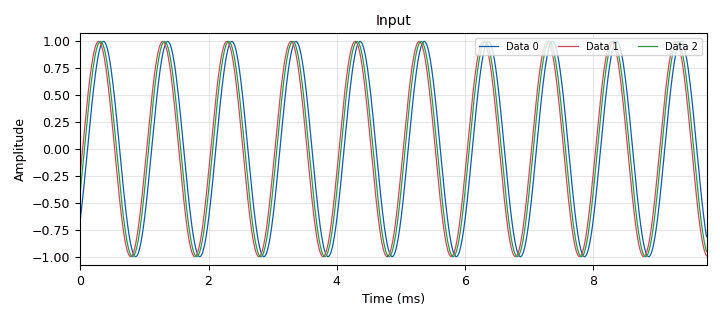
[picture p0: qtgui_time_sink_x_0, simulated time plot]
<?xml version='1.0' encoding='utf-8'?>
<?grc format='1' created='3.7.8'?>
<flow_graph>
<block>
<key>options</key>
<param><key>id</key><value>top_block</value></param>
<param><key>category</key><value>Custom</value></param>
<param><key>generate_options</key><value>qt_gui</value></param>
</block>
<block>
<key>variable</key>
<param><key>id</key><value>cal_freq</value></param>
<param><key>value</key><value>1000</value></param>
</block>
<block>
<key>variable</key>
<param><key>id</key><value>points</value></param>
<param><key>value</key><value>10000</value></param>
</block>
<block>
<key>variable</key>
<param><key>id</key><value>samp_rate</value></param>
<param><key>value</key><value>1024000</value></param>
</block>
<block>
<key>variable_qtgui_range</key>
<param><key>id</key><value>variable_qtgui_range_0</value></param>
<param><key>value</key><value>20</value></param>
<param><key>label</key><value>Input_Delay</value></param>
<param><key>orient</key><value>Qt.Horizontal</value></param>
<param><key>start</key><value>0</value></param>
<param><key>step</key><value>2</value></param>
<param><key>stop</key><value>180</value></param>
<param><key>rangeType</key><value>int</value></param>
</block>
<block>
<key>variable_qtgui_range</key>
<param><key>id</key><value>variable_qtgui_range_0_0</value></param>
<param><key>value</key><value>20</value></param>
<param><key>_enabled</key><value>0</value></param>
<param><key>orient</key><value>Qt.Horizontal</value></param>
<param><key>start</key><value>0</value></param>
<param><key>step</key><value>2</value></param>
<param><key>stop</key><value>180</value></param>
<param><key>rangeType</key><value>int</value></param>
</block>
<block>
<key>variable_qtgui_range</key>
<param><key>id</key><value>variable_qtgui_range_0_1</value></param>
<param><key>value</key><value>50</value></param>
<param><key>label</key><value>Input_Delay</value></param>
<param><key>orient</key><value>Qt.Horizontal</value></param>
<param><key>start</key><value>0</value></param>
<param><key>step</key><value>2</value></param>
<param><key>stop</key><value>180</value></param>
<param><key>rangeType</key><value>int</value></param>
</block>
<block>
<key>variable</key>
<param><key>id</key><value>vec_size</value></param>
<param><key>value</key><value>samp_rate/cal_freq*2</value></param>
</block>
<block>
<key>analog_sig_source_x</key>
<param><key>id</key><value>analog_sig_source_x_0</value></param>
<param><key>amp</key><value>1</value></param>
<param><key>freq</key><value>cal_freq</value></param>
<param><key>offset</key><value>0</value></param>
<param><key>type</key><value>complex</value></param>
<param><key>samp_rate</key><value>samp_rate</value></param>
<param><key>waveform</key><value>analog.GR_COS_WAVE</value></param>
</block>
<block>
<key>blocks_complex_to_real</key>
<param><key>id</key><value>blocks_complex_to_real_0</value></param>
</block>
<block>
<key>blocks_complex_to_real</key>
<param><key>id</key><value>blocks_complex_to_real_0_0</value></param>
</block>
<block>
<key>blocks_complex_to_real</key>
<param><key>id</key><value>blocks_complex_to_real_0_0_0</value></param>
</block>
<block>
<key>blocks_complex_to_real</key>
<param><key>id</key><value>blocks_complex_to_real_0_1</value></param>
<param><key>vlen</key><value>vec_size</value></param>
</block>
<block>
<key>blocks_complex_to_real</key>
<param><key>id</key><value>blocks_complex_to_real_0_2</value></param>
<param><key>vlen</key><value>vec_size</value></param>
</block>
<block>
<key>blocks_complex_to_real</key>
<param><key>id</key><value>blocks_complex_to_real_0_2_0</value></param>
<param><key>vlen</key><value>vec_size</value></param>
</block>
<block>
<key>blocks_complex_to_real</key>
<param><key>id</key><value>blocks_complex_to_real_1</value></param>
<param><key>_enabled</key><value>0</value></param>
</block>
<block>
<key>blocks_complex_to_real</key>
<param><key>id</key><value>blocks_complex_to_real_1_0</value></param>
<param><key>_enabled</key><value>0</value></param>
</block>
<block>
<key>blocks_complex_to_real</key>
<param><key>id</key><value>blocks_complex_to_real_1_0_0</value></param>
<param><key>_enabled</key><value>0</value></param>
</block>
<block>
<key>blocks_delay</key>
<param><key>id</key><value>blocks_delay_0</value></param>
<param><key>delay</key><value>variable_qtgui_range_0</value></param>
<param><key>type</key><value>complex</value></param>
</block>
<block>
<key>blocks_delay</key>
<param><key>id</key><value>blocks_delay_0_0</value></param>
<param><key>delay</key><value>variable_qtgui_range_0_1</value></param>
<param><key>type</key><value>complex</value></param>
</block>
<block>
<key>blocks_delay</key>
<param><key>id</key><value>blocks_delay_0_1</value></param>
<param><key>delay</key><value>100</value></param>
<param><key>type</key><value>complex</value></param>
</block>
<block>
<key>blocks_int_to_float</key>
<param><key>id</key><value>blocks_int_to_float_0</value></param>
<param><key>scale</key><value>1</value></param>
</block>
<block>
<key>blocks_int_to_float</key>
<param><key>id</key><value>blocks_int_to_float_0_0</value></param>
<param><key>scale</key><value>1</value></param>
</block>
<block>
<key>blocks_int_to_float</key>
<param><key>id</key><value>blocks_int_to_float_0_0_0</value></param>
<param><key>_enabled</key><value>0</value></param>
<param><key>scale</key><value>1</value></param>
</block>
<block>
<key>blocks_int_to_float</key>
<param><key>id</key><value>blocks_int_to_float_0_1</value></param>
<param><key>_enabled</key><value>0</value></param>
<param><key>scale</key><value>1</value></param>
</block>
<block>
<key>blocks_int_to_float</key>
<param><key>id</key><value>blocks_int_to_float_0_2</value></param>
<param><key>scale</key><value>1</value></param>
</block>
<block>
<key>blocks_stream_to_vector</key>
<param><key>id</key><value>blocks_stream_to_vector_0_1</value></param>
<param><key>type</key><value>complex</value></param>
<param><key>num_items</key><value>vec_size</value></param>
</block>
<block>
<key>blocks_stream_to_vector</key>
<param><key>id</key><value>blocks_stream_to_vector_0_1_0</value></param>
<param><key>type</key><value>complex</value></param>
<param><key>num_items</key><value>vec_size</value></param>
</block>
<block>
<key>blocks_stream_to_vector</key>
<param><key>id</key><value>blocks_stream_to_vector_0_1_0_0</value></param>
<param><key>_enabled</key><value>0</value></param>
<param><key>type</key><value>float</value></param>
<param><key>num_items</key><value>vec_size</value></param>
</block>
<block>
<key>blocks_stream_to_vector</key>
<param><key>id</key><value>blocks_stream_to_vector_0_1_1</value></param>
<param><key>_enabled</key><value>0</value></param>
<param><key>type</key><value>float</value></param>
<param><key>num_items</key><value>vec_size</value></param>
</block>
<block>
<key>blocks_stream_to_vector</key>
<param><key>id</key><value>blocks_stream_to_vector_0_1_2</value></param>
<param><key>type</key><value>complex</value></param>
<param><key>num_items</key><value>vec_size</value></param>
</block>
<block>
<key>blocks_throttle</key>
<param><key>id</key><value>blocks_throttle_0</value></param>
<param><key>samples_per_second</key><value>samp_rate</value></param>
<param><key>type</key><value>complex</value></param>
</block>
<block>
<key>blocks_vector_to_stream</key>
<param><key>id</key><value>blocks_vector_to_stream_0</value></param>
<param><key>_enabled</key><value>0</value></param>
<param><key>type</key><value>complex</value></param>
<param><key>num_items</key><value>vec_size</value></param>
</block>
<block>
<key>blocks_vector_to_stream</key>
<param><key>id</key><value>blocks_vector_to_stream_0_0</value></param>
<param><key>_enabled</key><value>0</value></param>
<param><key>type</key><value>complex</value></param>
<param><key>num_items</key><value>vec_size</value></param>
</block>
<block>
<key>blocks_vector_to_stream</key>
<param><key>id</key><value>blocks_vector_to_stream_0_0_0</value></param>
<param><key>type</key><value>int</value></param>
<param><key>num_items</key><value>vec_size</value></param>
</block>
<block>
<key>blocks_vector_to_stream</key>
<param><key>id</key><value>blocks_vector_to_stream_0_0_0_0</value></param>
<param><key>_enabled</key><value>0</value></param>
<param><key>type</key><value>int</value></param>
<param><key>num_items</key><value>vec_size</value></param>
</block>
<block>
<key>blocks_vector_to_stream</key>
<param><key>id</key><value>blocks_vector_to_stream_0_0_0_1</value></param>
<param><key>type</key><value>int</value></param>
<param><key>num_items</key><value>vec_size</value></param>
</block>
<block>
<key>blocks_vector_to_stream</key>
<param><key>id</key><value>blocks_vector_to_stream_0_1</value></param>
<param><key>type</key><value>int</value></param>
<param><key>num_items</key><value>vec_size</value></param>
</block>
<block>
<key>blocks_vector_to_stream</key>
<param><key>id</key><value>blocks_vector_to_stream_0_1_0</value></param>
<param><key>_enabled</key><value>0</value></param>
<param><key>type</key><value>int</value></param>
<param><key>num_items</key><value>vec_size</value></param>
</block>
<block>
<key>qtgui_time_sink_x</key>
<param><key>id</key><value>qtgui_time_sink_x_0</value></param>
<param><key>ctrlpanel</key><value>True</value></param>
<param><key>color1</key><value>"blue"</value></param>
<param><key>label1</key><value></value></param>
<param><key>color2</key><value>"red"</value></param>
<param><key>label2</key><value></value></param>
<param><key>color3</key><value>"green"</value></param>
<param><key>label3</key><value></value></param>
<param><key>name</key><value>"Input"</value></param>
<param><key>nconnections</key><value>3</value></param>
<param><key>size</key><value>points</value></param>
<param><key>srate</key><value>samp_rate</value></param>
<param><key>type</key><value>float</value></param>
</block>
<block>
<key>qtgui_time_sink_x</key>
<param><key>id</key><value>qtgui_time_sink_x_0_0</value></param>
<param><key>ctrlpanel</key><value>True</value></param>
<param><key>_enabled</key><value>0</value></param>
<param><key>color1</key><value>"blue"</value></param>
<param><key>label1</key><value></value></param>
<param><key>color2</key><value>"red"</value></param>
<param><key>label2</key><value></value></param>
<param><key>color3</key><value>"green"</value></param>
<param><key>label3</key><value></value></param>
<param><key>name</key><value>"Output (Synced)"</value></param>
<param><key>nconnections</key><value>3</value></param>
<param><key>size</key><value>points</value></param>
<param><key>srate</key><value>samp_rate</value></param>
<param><key>type</key><value>float</value></param>
</block>
<block>
<key>qtgui_time_sink_x</key>
<param><key>id</key><value>qtgui_time_sink_x_0_0_0</value></param>
<param><key>autoscale</key><value>True</value></param>
<param><key>color1</key><value>"blue"</value></param>
<param><key>label1</key><value></value></param>
<param><key>color2</key><value>"red"</value></param>
<param><key>label2</key><value></value></param>
<param><key>color3</key><value>"green"</value></param>
<param><key>label3</key><value></value></param>
<param><key>name</key><value>"Offsets"</value></param>
<param><key>nconnections</key><value>3</value></param>
<param><key>size</key><value>points</value></param>
<param><key>srate</key><value>samp_rate</value></param>
<param><key>type</key><value>float</value></param>
</block>
<block>
<key>qtgui_time_sink_x</key>
<param><key>id</key><value>qtgui_time_sink_x_0_0_0_0</value></param>
<param><key>autoscale</key><value>True</value></param>
<param><key>_enabled</key><value>0</value></param>
<param><key>color1</key><value>"blue"</value></param>
<param><key>label1</key><value></value></param>
<param><key>color2</key><value>"red"</value></param>
<param><key>label2</key><value></value></param>
<param><key>name</key><value>"Output (Synced) 2"</value></param>
<param><key>nconnections</key><value>2</value></param>
<param><key>size</key><value>points</value></param>
<param><key>srate</key><value>samp_rate</value></param>
<param><key>type</key><value>float</value></param>
</block>
<block>
<key>wifius_delay_sig</key>
<param><key>id</key><value>wifius_delay_sig_0</value></param>
<param><key>_enabled</key><value>0</value></param>
<param><key>vlen</key><value>1</value></param>
</block>
<block>
<key>wifius_delay_sig</key>
<param><key>id</key><value>wifius_delay_sig_0_0</value></param>
<param><key>_enabled</key><value>0</value></param>
<param><key>vlen</key><value>1</value></param>
</block>
<block>
<key>wifius_delay_sig</key>
<param><key>id</key><value>wifius_delay_sig_0_0_0</value></param>
<param><key>_enabled</key><value>0</value></param>
<param><key>vlen</key><value>1</value></param>
</block>
<block>
<key>wifius_measure_phases</key>
<param><key>id</key><value>wifius_measure_phases_0</value></param>
<param><key>CalibrationToneFrequency</key><value>cal_freq</value></param>
<param><key>num_ports</key><value>3</value></param>
<param><key>SampleRate</key><value>samp_rate</value></param>
<param><key>UpdatePeriod</key><value>100</value></param>
<param><key>vlen</key><value>vec_size</value></param>
</block>
<block>
<key>wifius_measure_phases</key>
<param><key>id</key><value>wifius_measure_phases_0_0</value></param>
<param><key>CalibrationToneFrequency</key><value>cal_freq</value></param>
<param><key>_enabled</key><value>0</value></param>
<param><key>num_ports</key><value>2</value></param>
<param><key>SampleRate</key><value>samp_rate</value></param>
<param><key>UpdatePeriod</key><value>1</value></param>
<param><key>vlen</key><value>vec_size</value></param>
</block>
<connection><source_block_id>analog_sig_source_x_0</source_block_id><sink_block_id>blocks_throttle_0</sink_block_id><source_key>0</source_key><sink_key>0</sink_key></connection>
<connection><source_block_id>blocks_complex_to_real_0</source_block_id><sink_block_id>qtgui_time_sink_x_0</sink_block_id><source_key>0</source_key><sink_key>0</sink_key></connection>
<connection><source_block_id>blocks_complex_to_real_0_0</source_block_id><sink_block_id>qtgui_time_sink_x_0</sink_block_id><source_key>0</source_key><sink_key>1</sink_key></connection>
<connection><source_block_id>blocks_complex_to_real_0_0_0</source_block_id><sink_block_id>qtgui_time_sink_x_0</sink_block_id><source_key>0</source_key><sink_key>2</sink_key></connection>
<connection><source_block_id>blocks_complex_to_real_0_1</source_block_id><sink_block_id>wifius_measure_phases_0</sink_block_id><source_key>0</source_key><sink_key>0</sink_key></connection>
<connection><source_block_id>blocks_complex_to_real_0_2</source_block_id><sink_block_id>wifius_measure_phases_0</sink_block_id><source_key>0</source_key><sink_key>1</sink_key></connection>
<connection><source_block_id>blocks_complex_to_real_0_2_0</source_block_id><sink_block_id>wifius_measure_phases_0</sink_block_id><source_key>0</source_key><sink_key>2</sink_key></connection>
<connection><source_block_id>blocks_complex_to_real_1</source_block_id><sink_block_id>blocks_stream_to_vector_0_1_0_0</sink_block_id><source_key>0</source_key><sink_key>0</sink_key></connection>
<connection><source_block_id>blocks_complex_to_real_1</source_block_id><sink_block_id>qtgui_time_sink_x_0_0</sink_block_id><source_key>0</source_key><sink_key>0</sink_key></connection>
<connection><source_block_id>blocks_complex_to_real_1_0</source_block_id><sink_block_id>qtgui_time_sink_x_0_0</sink_block_id><source_key>0</source_key><sink_key>1</sink_key></connection>
<connection><source_block_id>blocks_complex_to_real_1_0_0</source_block_id><sink_block_id>qtgui_time_sink_x_0_0</sink_block_id><source_key>0</source_key><sink_key>2</sink_key></connection>
<connection><source_block_id>blocks_delay_0</source_block_id><sink_block_id>blocks_complex_to_real_0_0</sink_block_id><source_key>0</source_key><sink_key>0</sink_key></connection>
<connection><source_block_id>blocks_delay_0</source_block_id><sink_block_id>blocks_stream_to_vector_0_1</sink_block_id><source_key>0</source_key><sink_key>0</sink_key></connection>
<connection><source_block_id>blocks_delay_0</source_block_id><sink_block_id>wifius_delay_sig_0_0</sink_block_id><source_key>0</source_key><sink_key>1</sink_key></connection>
<connection><source_block_id>blocks_delay_0_0</source_block_id><sink_block_id>blocks_complex_to_real_0_0_0</sink_block_id><source_key>0</source_key><sink_key>0</sink_key></connection>
<connection><source_block_id>blocks_delay_0_0</source_block_id><sink_block_id>blocks_stream_to_vector_0_1_2</sink_block_id><source_key>0</source_key><sink_key>0</sink_key></connection>
<connection><source_block_id>blocks_delay_0_0</source_block_id><sink_block_id>wifius_delay_sig_0_0_0</sink_block_id><source_key>0</source_key><sink_key>1</sink_key></connection>
<connection><source_block_id>blocks_delay_0_1</source_block_id><sink_block_id>blocks_complex_to_real_0</sink_block_id><source_key>0</source_key><sink_key>0</sink_key></connection>
<connection><source_block_id>blocks_delay_0_1</source_block_id><sink_block_id>blocks_stream_to_vector_0_1_0</sink_block_id><source_key>0</source_key><sink_key>0</sink_key></connection>
<connection><source_block_id>blocks_delay_0_1</source_block_id><sink_block_id>wifius_delay_sig_0</sink_block_id><source_key>0</source_key><sink_key>1</sink_key></connection>
<connection><source_block_id>blocks_int_to_float_0</source_block_id><sink_block_id>qtgui_time_sink_x_0_0_0</sink_block_id><source_key>0</source_key><sink_key>0</sink_key></connection>
<connection><source_block_id>blocks_int_to_float_0_0</source_block_id><sink_block_id>qtgui_time_sink_x_0_0_0</sink_block_id><source_key>0</source_key><sink_key>1</sink_key></connection>
<connection><source_block_id>blocks_int_to_float_0_0_0</source_block_id><sink_block_id>qtgui_time_sink_x_0_0_0_0</sink_block_id><source_key>0</source_key><sink_key>1</sink_key></connection>
<connection><source_block_id>blocks_int_to_float_0_1</source_block_id><sink_block_id>qtgui_time_sink_x_0_0_0_0</sink_block_id><source_key>0</source_key><sink_key>0</sink_key></connection>
<connection><source_block_id>blocks_int_to_float_0_2</source_block_id><sink_block_id>qtgui_time_sink_x_0_0_0</sink_block_id><source_key>0</source_key><sink_key>2</sink_key></connection>
<connection><source_block_id>blocks_stream_to_vector_0_1</source_block_id><sink_block_id>blocks_complex_to_real_0_2</sink_block_id><source_key>0</source_key><sink_key>0</sink_key></connection>
<connection><source_block_id>blocks_stream_to_vector_0_1_0</source_block_id><sink_block_id>blocks_complex_to_real_0_1</sink_block_id><source_key>0</source_key><sink_key>0</sink_key></connection>
<connection><source_block_id>blocks_stream_to_vector_0_1_0_0</source_block_id><sink_block_id>wifius_measure_phases_0_0</sink_block_id><source_key>0</source_key><sink_key>0</sink_key></connection>
<connection><source_block_id>blocks_stream_to_vector_0_1_1</source_block_id><sink_block_id>wifius_measure_phases_0_0</sink_block_id><source_key>0</source_key><sink_key>1</sink_key></connection>
<connection><source_block_id>blocks_stream_to_vector_0_1_2</source_block_id><sink_block_id>blocks_complex_to_real_0_2_0</sink_block_id><source_key>0</source_key><sink_key>0</sink_key></connection>
<connection><source_block_id>blocks_throttle_0</source_block_id><sink_block_id>blocks_delay_0</sink_block_id><source_key>0</source_key><sink_key>0</sink_key></connection>
<connection><source_block_id>blocks_throttle_0</source_block_id><sink_block_id>blocks_delay_0_0</sink_block_id><source_key>0</source_key><sink_key>0</sink_key></connection>
<connection><source_block_id>blocks_throttle_0</source_block_id><sink_block_id>blocks_delay_0_1</sink_block_id><source_key>0</source_key><sink_key>0</sink_key></connection>
<connection><source_block_id>blocks_vector_to_stream_0</source_block_id><sink_block_id>blocks_complex_to_real_1_0</sink_block_id><source_key>0</source_key><sink_key>0</sink_key></connection>
<connection><source_block_id>blocks_vector_to_stream_0_0</source_block_id><sink_block_id>blocks_complex_to_real_1</sink_block_id><source_key>0</source_key><sink_key>0</sink_key></connection>
<connection><source_block_id>blocks_vector_to_stream_0_0_0</source_block_id><sink_block_id>blocks_int_to_float_0</sink_block_id><source_key>0</source_key><sink_key>0</sink_key></connection>
<connection><source_block_id>blocks_vector_to_stream_0_0_0</source_block_id><sink_block_id>wifius_delay_sig_0</sink_block_id><source_key>0</source_key><sink_key>0</sink_key></connection>
<connection><source_block_id>blocks_vector_to_stream_0_0_0_0</source_block_id><sink_block_id>blocks_int_to_float_0_1</sink_block_id><source_key>0</source_key><sink_key>0</sink_key></connection>
<connection><source_block_id>blocks_vector_to_stream_0_0_0_1</source_block_id><sink_block_id>blocks_int_to_float_0_2</sink_block_id><source_key>0</source_key><sink_key>0</sink_key></connection>
<connection><source_block_id>blocks_vector_to_stream_0_0_0_1</source_block_id><sink_block_id>wifius_delay_sig_0_0_0</sink_block_id><source_key>0</source_key><sink_key>0</sink_key></connection>
<connection><source_block_id>blocks_vector_to_stream_0_1</source_block_id><sink_block_id>blocks_int_to_float_0_0</sink_block_id><source_key>0</source_key><sink_key>0</sink_key></connection>
<connection><source_block_id>blocks_vector_to_stream_0_1</source_block_id><sink_block_id>wifius_delay_sig_0_0</sink_block_id><source_key>0</source_key><sink_key>0</sink_key></connection>
<connection><source_block_id>blocks_vector_to_stream_0_1_0</source_block_id><sink_block_id>blocks_int_to_float_0_0_0</sink_block_id><source_key>0</source_key><sink_key>0</sink_key></connection>
<connection><source_block_id>wifius_delay_sig_0</source_block_id><sink_block_id>blocks_complex_to_real_1</sink_block_id><source_key>0</source_key><sink_key>0</sink_key></connection>
<connection><source_block_id>wifius_delay_sig_0</source_block_id><sink_block_id>blocks_vector_to_stream_0_0</sink_block_id><source_key>0</source_key><sink_key>0</sink_key></connection>
<connection><source_block_id>wifius_delay_sig_0_0</source_block_id><sink_block_id>blocks_complex_to_real_1_0</sink_block_id><source_key>0</source_key><sink_key>0</sink_key></connection>
<connection><source_block_id>wifius_delay_sig_0_0</source_block_id><sink_block_id>blocks_vector_to_stream_0</sink_block_id><source_key>0</source_key><sink_key>0</sink_key></connection>
<connection><source_block_id>wifius_delay_sig_0_0_0</source_block_id><sink_block_id>blocks_complex_to_real_1_0_0</sink_block_id><source_key>0</source_key><sink_key>0</sink_key></connection>
<connection><source_block_id>wifius_measure_phases_0</source_block_id><sink_block_id>blocks_vector_to_stream_0_0_0</sink_block_id><source_key>0</source_key><sink_key>0</sink_key></connection>
<connection><source_block_id>wifius_measure_phases_0</source_block_id><sink_block_id>blocks_vector_to_stream_0_1</sink_block_id><source_key>1</source_key><sink_key>0</sink_key></connection>
<connection><source_block_id>wifius_measure_phases_0</source_block_id><sink_block_id>blocks_vector_to_stream_0_0_0_1</sink_block_id><source_key>2</source_key><sink_key>0</sink_key></connection>
<connection><source_block_id>wifius_measure_phases_0_0</source_block_id><sink_block_id>blocks_vector_to_stream_0_0_0_0</sink_block_id><source_key>0</source_key><sink_key>0</sink_key></connection>
<connection><source_block_id>wifius_measure_phases_0_0</source_block_id><sink_block_id>blocks_vector_to_stream_0_1_0</sink_block_id><source_key>1</source_key><sink_key>0</sink_key></connection>
</flow_graph>
